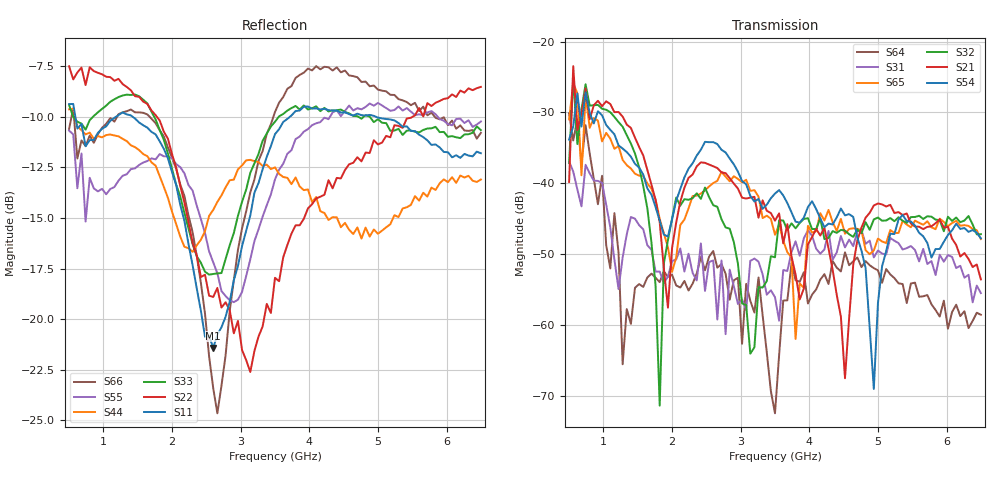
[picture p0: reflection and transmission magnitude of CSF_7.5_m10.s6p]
!Keysight Technologies,M9804A,MY58100912,A.14.10.03
!Date: Thursday, April 27, 2023 10:28:33
!Correction: S11(C  6-Port  )
!S12(C  6-Port  )
!S13(C  6-Port  )
!S14(C  6-Port  )
!S15(C  6-Port  )
!S16(C  6-Port  )
!S21(C  6-Port  )
!S22(C  6-Port  )
!S23(C  6-Port  )
!S24(C  6-Port  )
!S25(C  6-Port  )
!S26(C  6-Port  )
!S31(C  6-Port  )
!S32(C  6-Port  )
!S33(C  6-Port  )
!S34(C  6-Port  )
!S35(C  6-Port  )
!S36(C  6-Port  )
!S41(C  6-Port  )
!S42(C  6-Port  )
!S43(C  6-Port  )
!S44(C  6-Port  )
!S45(C  6-Port  )
!S46(C  6-Port  )
!S51(C  6-Port  )
!S52(C  6-Port  )
!S53(C  6-Port  )
!S54(C  6-Port  )
!S55(C  6-Port  )
!S56(C  6-Port  )
!S61(C  6-Port  )
!S62(C  6-Port  )
!S63(C  6-Port  )
!S64(C  6-Port  )
!S65(C  6-Port  )
!S66(C  6-Port  )
!S6P File: Measurement: :
# Hz S  RI  R 50
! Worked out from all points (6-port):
!   101 points, 500 MHz to 6.5 GHz, reference 50 ohm
!   strongest paths, dB at 500 MHz, 2 GHz, 3.5 GHz, 5 GHz, 6.5 GHz:
!     S54: -33.8, -45.1, -41.4, -56.9, -47.7
!     S21: -39.8, -49.1, -45.2, -42.8, -53.5
!     S32: -37.1, -45.0, -50.4, -44.8, -47.2
!     S65: -31.0, -52.5, -47.2, -47.8, -47.9
!     S31: -36.9, -51.0, -56.0, -49.5, -55.5
!     S64: -30.1, -52.9, -72.4, -52.3, -58.5
!   lowest |S11| = -21.4 dB at 2.6 GHz (marker M1), VSWR 1.19, Z = 42.5 + j2.25 ohm
!   |S11| at or under -10 dB: 591.3 MHz to 1.181 GHz (589.3 MHz wide, 66.5 % of centre); 1.428 GHz to 3.716 GHz (2.288 GHz wide, 89 % of centre); 4.974 GHz to end of sweep
